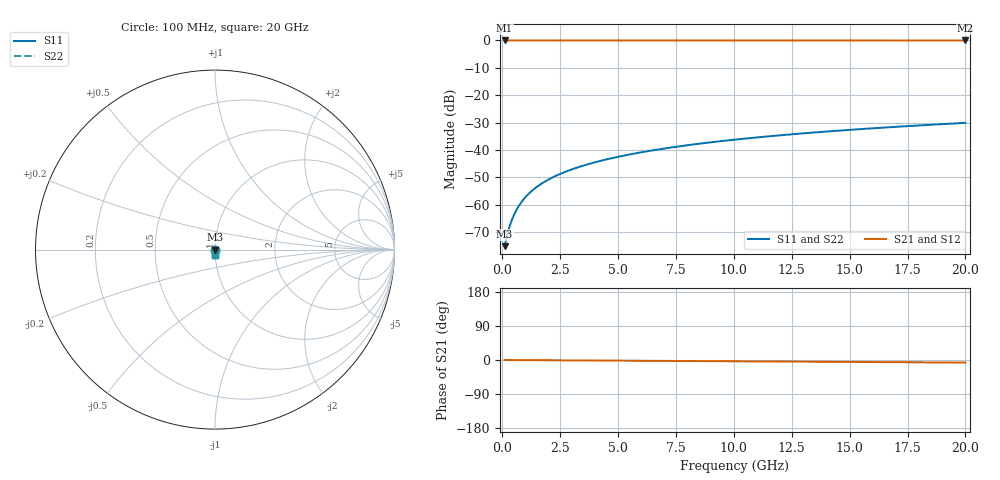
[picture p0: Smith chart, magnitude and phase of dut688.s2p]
! Touchstone file exported from HFSS 2026.1.0
!  File:  C:/ffzhzh/LocalFiles/Ansys_Project_Files/temp_train_TSV_688_1783027554_46388.aedt
!  Generated:  05:27:42 AM Jul  3, 2026
!  Design:  TSV
!  Project:  temp_train_TSV_688_1783027554_46388
! Variables:
!  h_bsmrdl = 2um
!  h_ox = 20um
!  h_rdl = 5um
!  h_sub = 67.84um
!  h_tmrdl = 5um
!  h_tsv = 67.84um
!  h_via = 3um
!  l_bsmrdl = 300um
!  l_sub = 418.28um
!  l_tmrdl = 200um
!  m_sub = 200um
!  pitch = 28.75um
!  r_tsv = 9.14um
!  s_tmrdl = 10um
!  w_bsmrdl = 18um
!  w_sub = 500um
!  w_tmrdl = 12um
!  x_tsv_center1 = 206um
!  x_tsv_center2 = 524um
!  x_tsv_center3 = 736um
!  x_tsv_center4 = 1054um
!  x_tsv_center5 = 1266um
!  x_tsv_center6 = 1584um
# GHz S MA R 50.000000
! Terminal data exported
! Port[1] = TSV1_1_T1
! Port[2] = TSV1_1_T2
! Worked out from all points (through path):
!   200 points, 100 MHz to 20 GHz, reference 50 ohm
!   highest |S21| = 0.00 dB at 100 MHz (marker M1); lowest = 0.0 dB at 20 GHz (marker M2)
!   lowest |S11| = -75.1 dB at 100 MHz (marker M3), VSWR 1.00, Z = 50 - j0.0111 ohm
!   |S11| at or under -10 dB: start of sweep to end of sweep
!   |S22| runs from -75.1 to -30.1 dB; largest |S21 - S12| = 3.1e-15
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0.1  0.0001758 -39.0  0.9999 -0.0  0.9999 -0.0  0.0001758 -39.0
! Gamma 0 0 0 0
! Port Impedance 50 0 50 0
0.2  0.0002709 -56.2  0.9998 -0.1  0.9998 -0.1  0.0002709 -56.2
0.3  0.0003859 -63.6  0.9998 -0.1  0.9998 -0.1  0.0003859 -63.6
0.4  0.0005124 -67.6  0.9998 -0.1  0.9998 -0.1  0.0005124 -67.6
0.5  0.0006472 -70.1  0.9998 -0.2  0.9998 -0.2  0.0006472 -70.1
0.6  0.0007878 -72.0  0.9998 -0.2  0.9998 -0.2  0.0007878 -72.0
0.8  0.00108 -74.7  0.9997 -0.3  0.9997 -0.3  0.00108 -74.7
1.1  0.001531 -77.6  0.9997 -0.4  0.9997 -0.4  0.001531 -77.6
1.3  0.001835 -79.0  0.9996 -0.5  0.9996 -0.5  0.001835 -79.0
1.5  0.002139 -80.1  0.9996 -0.5  0.9996 -0.5  0.002139 -80.1
1.8  0.002596 -81.4  0.9996 -0.6  0.9996 -0.6  0.002596 -81.4
2.1  0.003053 -82.4  0.9996 -0.7  0.9996 -0.7  0.003053 -82.4
2.7  0.003969 -83.9  0.9995 -0.9  0.9995 -0.9  0.003969 -83.9
3.5  0.005197 -85.1  0.9994 -1.2  0.9994 -1.2  0.005197 -85.1
4.2  0.006279 -85.9  0.9994 -1.4  0.9994 -1.4  0.006279 -85.9
5  0.007524 -86.7  0.9993 -1.7  0.9993 -1.7  0.007524 -86.7
6.8  0.01035 -88.0  0.9992 -2.3  0.9992 -2.3  0.01035 -88.0
8.3  0.01272 -88.9  0.9991 -2.8  0.9991 -2.8  0.01272 -88.9
10.1  0.01557 -89.9  0.9989 -3.4  0.9989 -3.4  0.01557 -89.9
13.4  0.0208 -91.5  0.9987 -4.5  0.9987 -4.5  0.0208 -91.5
16.7  0.02605 -93.0  0.9984 -5.6  0.9984 -5.6  0.02605 -93.0
20  0.03131 -94.3  0.9982 -6.8  0.9982 -6.8  0.03131 -94.3
